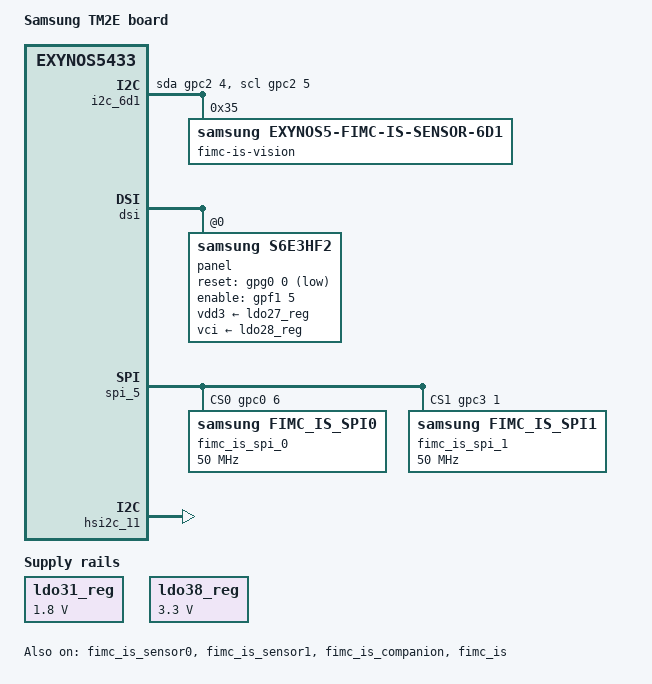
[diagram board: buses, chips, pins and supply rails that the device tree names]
/*
 * SAMSUNG Exynos5433 TM2E board device tree source
 *
 * Copyright (c) 2016 Samsung Electronics Co., Ltd.
 *
 * Device tree source file for Samsung's TM2E(TM2 EDGE) board which is based on
 * Samsung Exynos5433 SoC.
 *
 * This program is free software; you can redistribute it and/or modify
 * it under the terms of the GNU General Public License version 2 as
 * published by the Free Software Foundation.
 */

#include "exynos5433-tm2-common.dtsi"

/ {
	model = "Samsung TM2E board";
	compatible = "samsung,tm2e", "samsung,exynos5433";

	i2c_6d1: i2c-gpio-1 {
		compatible = "i2c-gpio";
		gpios = <&gpc2 4 0 /* SDA */
		         &gpc2 5 0 /* SCL */>;
		i2c-gpio,delay-us = <2>;
		#address-cells = <1>;
		#size-cells = <0>;
		status = "okay";
		fimc-is-vision@35 {
			compatible = "samsung,exynos5-fimc-is-sensor-6d1";
			reg = <0x35>;
		};
	};
};

&cmu_disp {
	/*
	 * TM2 and TM2e differ only by DISP_PLL rate, but define all assigned
	 * clocks properties for DISP CMU for each board to keep them together
	 * for easier review and maintenance.
	 */
	assigned-clocks = <&cmu_disp CLK_FOUT_DISP_PLL>,
			  <&cmu_mif CLK_DIV_SCLK_DECON_TV_ECLK>,
			  <&cmu_disp CLK_MOUT_ACLK_DISP_333_USER>,
			  <&cmu_disp CLK_MOUT_SCLK_DSIM0_USER>,
			  <&cmu_disp CLK_MOUT_SCLK_DSIM0>,
			  <&cmu_disp CLK_MOUT_SCLK_DECON_ECLK_USER>,
			  <&cmu_disp CLK_MOUT_SCLK_DECON_ECLK>,
			  <&cmu_disp CLK_MOUT_PHYCLK_MIPIDPHY0_RXCLKESC0_USER>,
			  <&cmu_disp CLK_MOUT_PHYCLK_MIPIDPHY0_BITCLKDIV8_USER>,
			  <&cmu_disp CLK_MOUT_DISP_PLL>,
			  <&cmu_mif CLK_MOUT_SCLK_DECON_TV_ECLK_A>,
			  <&cmu_disp CLK_MOUT_SCLK_DECON_TV_ECLK_USER>,
			  <&cmu_disp CLK_MOUT_SCLK_DECON_TV_ECLK>;
	assigned-clock-parents = <0>, <0>,
				 <&cmu_mif CLK_ACLK_DISP_333>,
				 <&cmu_mif CLK_SCLK_DSIM0_DISP>,
				 <&cmu_disp CLK_MOUT_SCLK_DSIM0_USER>,
				 <&cmu_mif CLK_SCLK_DECON_ECLK_DISP>,
				 <&cmu_disp CLK_MOUT_SCLK_DECON_ECLK_USER>,
				 <&cmu_disp CLK_PHYCLK_MIPIDPHY0_RXCLKESC0_PHY>,
				 <&cmu_disp CLK_PHYCLK_MIPIDPHY0_BITCLKDIV8_PHY>,
				 <&cmu_disp CLK_FOUT_DISP_PLL>,
				 <&cmu_mif CLK_MOUT_BUS_PLL_DIV2>,
				 <&cmu_mif CLK_SCLK_DECON_TV_ECLK_DISP>,
				 <&cmu_disp CLK_MOUT_SCLK_DECON_TV_ECLK_USER>;
	assigned-clock-rates = <278000000>, <400000000>;
};

&dsi {
	panel@0 {
		compatible = "samsung,s6e3hf2";
		reg = <0>;
		vdd3-supply = <&ldo27_reg>;
		vci-supply = <&ldo28_reg>;
		reset-gpios = <&gpg0 0 GPIO_ACTIVE_LOW>;
		enable-gpios = <&gpf1 5 GPIO_ACTIVE_HIGH>;
	};
};

&ldo25_reg {
	regulator-name = "CAM_SEN_A2.8V_AP";
};

&ldo31_reg {
	regulator-name = "TSP_VDD_1.8V_AP";
	regulator-min-microvolt = <1800000>;
	regulator-max-microvolt = <1800000>;
};

&ldo38_reg {
	regulator-name = "VCC_3.3V_MOTOR_AP";
	regulator-min-microvolt = <3300000>;
	regulator-max-microvolt = <3300000>;
};

&stmfts {
	touchscreen-size-x = <1599>;
	touchscreen-size-y = <2559>;
	touch-key-connected;
	ledvdd-supply = <&ldo33_reg>;
};

&spi_5 {
	cs-gpios = <&gpc0 6 0>, <&gpc3 1 0>;

	status = "okay";
	clocks = <&cmu_cam1 CLK_ISP_SPI0>,
		<&cmu_top CLK_SCLK_ISP_SPI1_CAM1>;
	clock-names = "spi", "spi_busclk0";
	pinctrl-names ="default";
	pinctrl-0 = <&fimc_is_spi_pin0>;
	num-cs = <2>;

	fimc_is_spi_0@0 {
		compatible = "samsung,fimc_is_spi0";
		spi-max-frequency = <50000000>;
		reg = <0x0>;

		controller-data {
			samsung,spi-feedback-delay = <2>;
			cs-gpio = <&gpc0 6 0>;
		};
	};

	fimc_is_spi_1@1 {
		compatible = "samsung,fimc_is_spi1";
		fimc_is_spi_sclk = "gpc3-0";
		fimc_is_spi_ssn = "gpc3-1";
		fimc_is_spi_miso = "gpc3-2";
		fimc_is_spi_mois = "gpc3-3";
		spi-max-frequency = <50000000>;
		reg = <0x1>;
		pinctrl-names = "default";
		pinctrl-0 = <&fimc_is_comp_int>;

		controller-data {
			cs-gpio = <&gpc3 1 0>;
			samsung,spi-feedback-delay = <3>;
		};
	};
};

&hsi2c_11 {
	status = "okay";
};

&fimc_is_sensor0 {
	scenario = <0>;
	gpio_reset = <&gpc0 4 0x1>;
	id = <0>;
	mclk_ch = <0>;
	csi_ch = <0>;
	flite_ch = <0>;
	i2c_ch = <0x010100>;
	i2c_addr = <0x483434>;
	flash_first_gpio = <1>;
	flash_second_gpio = <2>;
	sensor_name = "imx240";
	sensor_id = <104>;
	is_bns = <1>;
	status = "okay";
	phys = <&mipi_phy 0>;
	phy-names = "csis";
};

&fimc_is_sensor1 {
	pinctrl-names ="default", "ch1", "off1";
	pinctrl-0 = <&fimc_is_ch2_mclk_off>;
	pinctrl-1 = <&fimc_is_ch2_i2c &fimc_is_ch2_mclk>;
	pinctrl-2 = <&fimc_is_ch2_mclk_off &fimc_is_ch2_i2c_off>;

	scenario = <0>;
	gpio_reset = <&gpc0 3 0x1>;
	gpio_standby = <&gpc0 0 0x1>;
	id = <1>;
	mclk_ch = <2>;
	csi_ch = <1>;
	flite_ch = <1>;
	i2c_ch = <0x2>;
	i2c_addr = <0x6A>;
	sensor_name = "6d1";
	sensor_id = <16>;
	is_bns = <0>;
	status = "okay";
	phys = <&mipi_phy 2>;
	phy-names = "csis";
};

&fimc_is_companion {
	scenario = <0>;
	mclk_ch = <0>;
	sensor_id = <104>;

	gpios_cam_en = <&gpf4 7 0x1>;
	gpio_reset = <&gpc0 4 0x1>;
	gpios_comp_en = <&gpf1 7 0x1>; /* COMP_EN */
	gpios_comp_reset = <&gpf5 7 0x1>; /* COMP_RSTN */
	gpios_ois_en = <&gpf4 6 0>; /* OIS_EN*/

	status = "okay";
};

&fimc_is {
	status = "okay";
	interrupts = <0 165 0>; /* Remove ISP_GIC to use FIMC IS i2c channel in host */
	companion_spi_channel = <0>;
	use_vision = <1>;
	use_sensor_dynamic_voltage_mode = <1>;
	use_ois;
	use_ois_hsi2c;
	use_module_check;
	/delete-property/ pinctrl-names;
	/delete-property/ pinctrl-0;

	fimc_is_dvfs {
		default_int = <400000>; /* L0 */
		default_cam = <777000>; /* L0 */
		default_mif = <825000>; /* L0 */
		default_i2c = <0>;

		front_preview_int = <267000>; /* L2 */
		front_preview_cam = <111000>; /* L9 */
		front_preview_mif = <543000>; /* L2 */
		front_preview_i2c = <0>;

		front_capture_int = <267000>; /* L2 */
		front_capture_cam = <111000>; /* L9 */
		front_capture_mif = <543000>; /* L2 */
		front_capture_i2c = <0>;

		front_camcording_int = <267000>; /* L2 */
		front_camcording_cam = <111000>; /* L9 */
		front_camcording_mif = <543000>; /* L2 */
		front_camcording_i2c = <0>;

		front_vt1_int = <200000>; /* L3 */
		front_vt1_cam = <111000>; /* L9 */
		front_vt1_mif = <543000>; /* L2 */
		front_vt1_i2c = <0>;

		front_vt2_int = <200000>; /* L3 */
		front_vt2_cam = <111000>; /* L9 */
		front_vt2_mif = <543000>; /* L2 */
		front_vt2_i2c = <0>;

		rear_preview_fhd_bns_off_int = <267000>; /* L2 */
		rear_preview_fhd_bns_off_cam = <200000>; /* L8 */
		rear_preview_fhd_bns_off_mif = <543000>; /* L2 */
		rear_preview_fhd_bns_off_i2c = <0>;

		rear_preview_fhd_int = <267000>; /* L2 */
		rear_preview_fhd_cam = <333000>; /* L6 */
		rear_preview_fhd_mif = <543000>; /* L2 */
		rear_preview_fhd_i2c = <0>;

		rear_preview_whd_int = <334000>; /* L1 */
		rear_preview_whd_cam = <600000>; /* L2 */
		rear_preview_whd_mif = <667000>; /* L1 */
		rear_preview_whd_i2c = <0>;

		rear_preview_uhd_int = <400000>; /* L0 */
		rear_preview_uhd_cam = <666000>; /* L1 */
		rear_preview_uhd_mif = <825000>; /* L0 */
		rear_preview_uhd_i2c = <0>;

		rear_capture_int = <400000>; /* L0 */
		rear_capture_cam = <777000>; /* L0 */
		rear_capture_mif = <667000>; /* L1 */
		rear_capture_i2c = <0>;

		rear_camcording_fhd_bns_off_int = <267000>; /* L2 */
		rear_camcording_fhd_bns_off_cam = <580000>; /* L3 */
		rear_camcording_fhd_bns_off_mif = <543000>; /* L2 */
		rear_camcording_fhd_bns_off_i2c = <0>;

		rear_camcording_fhd_int = <267000>; /* L2 */
		rear_camcording_fhd_cam = <555000>; /* L4 */
		rear_camcording_fhd_mif = <543000>; /* L2 */
		rear_camcording_fhd_i2c = <0>;

		rear_camcording_whd_int = <334000>; /* L1 */
		rear_camcording_whd_cam = <600000>; /* L2 */
		rear_camcording_whd_mif = <667000>; /* L1 */
		rear_camcording_whd_i2c = <0>;

		rear_camcording_uhd_int = <400000>; /* L0 */
		rear_camcording_uhd_cam = <666000>; /* L1 */
		rear_camcording_uhd_mif = <825000>; /* L0 */
		rear_camcording_uhd_i2c = <0>;

		dual_preview_int = <334000>; /* L1 */
		dual_preview_cam = <444000>; /* L5 */
		dual_preview_mif = <825000>; /* L0 */
		dual_preview_i2c = <0>;

		dual_capture_int = <400000>; /* L0 */
		dual_capture_cam = <777000>; /* L4 */
		dual_capture_mif = <825000>; /* L0 */
		dual_capture_i2c = <0>;

		dual_camcording_int = <334000>; /* L1 */
		dual_camcording_cam = <444000>; /* L5 */
		dual_camcording_mif = <825000>; /* L0 */
		dual_camcording_i2c = <0>;

		high_speed_fps_int = <400000>; /* L0 */
		high_speed_fps_cam = <222000>; /* L7 */
		high_speed_fps_mif = <825000>; /* L0 */
		high_speed_fps_i2c = <0>;

		dis_enable_int = <400000>; /* L0 */
		dis_enable_cam = <777000>; /* L0 */
		dis_enable_mif = <825000>; /* L0 */
		dis_enable_i2c = <0>;

		max_int = <400000>; /* L0 */
		max_cam = <777000>; /* L0 */
		max_mif = <825000>; /* L0 */
		max_i2c = <0>;
	};
};
